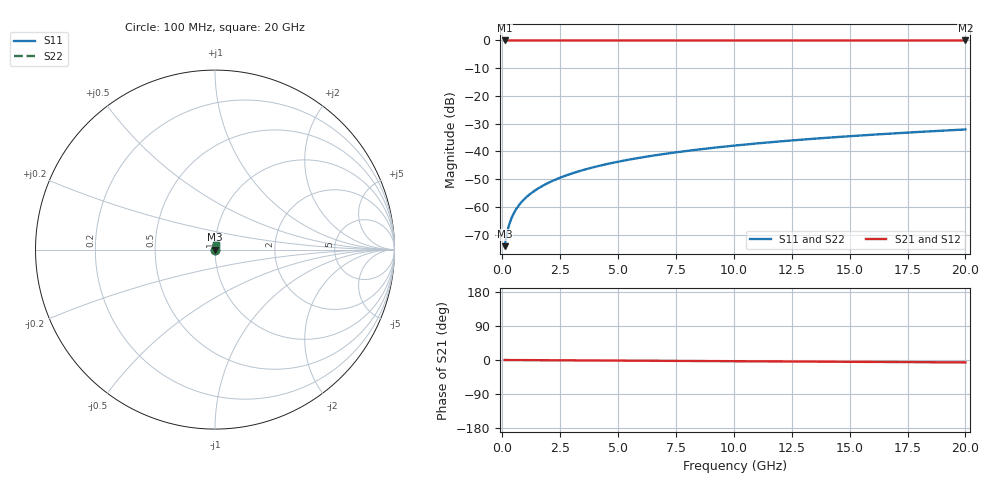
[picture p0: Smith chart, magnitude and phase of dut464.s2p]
! Touchstone file exported from HFSS 2026.1.0
!  File:  C:/ffzhzh/LocalFiles/Ansys_Project_Files/temp_train_TSV_464_1783022095_51716.aedt
!  Generated:  03:56:29 AM Jul  3, 2026
!  Design:  TSV
!  Project:  temp_train_TSV_464_1783022095_51716
! Variables:
!  h_bsmrdl = 2um
!  h_ox = 20um
!  h_rdl = 5um
!  h_sub = 56.91um
!  h_tmrdl = 5um
!  h_tsv = 56.91um
!  h_via = 3um
!  l_bsmrdl = 300um
!  l_sub = 417.72um
!  l_tmrdl = 200um
!  m_sub = 200um
!  pitch = 46.26um
!  r_tsv = 8.86um
!  s_tmrdl = 10um
!  w_bsmrdl = 18um
!  w_sub = 500um
!  w_tmrdl = 12um
!  x_tsv_center1 = 206um
!  x_tsv_center2 = 524um
!  x_tsv_center3 = 736um
!  x_tsv_center4 = 1054um
!  x_tsv_center5 = 1266um
!  x_tsv_center6 = 1584um
# GHz S MA R 50.000000
! Terminal data exported
! Port[1] = TSV1_1_T1
! Port[2] = TSV1_1_T2
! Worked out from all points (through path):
!   200 points, 100 MHz to 20 GHz, reference 50 ohm
!   highest |S21| = 0.00 dB at 100 MHz (marker M1); lowest = 0.0 dB at 20 GHz (marker M2)
!   lowest |S11| = -74.1 dB at 100 MHz (marker M3), VSWR 1.00, Z = 50 + j0.0157 ohm
!   |S11| at or under -10 dB: start of sweep to end of sweep
!   |S22| runs from -74.1 to -32.1 dB; largest |S21 - S12| = 3.5e-15
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0.1  0.0001965 53.2  0.9999 -0.0  0.9999 -0.0  0.0001965 53.2
! Gamma 0 0 0 0
! Port Impedance 50 0 50 0
0.2  0.0003373 67.9  0.9999 -0.1  0.9999 -0.1  0.0003373 67.9
0.3  0.0004851 73.2  0.9999 -0.1  0.9999 -0.1  0.0004851 73.2
0.4  0.0006316 75.6  0.9998 -0.1  0.9998 -0.1  0.0006316 75.6
0.5  0.000775 76.9  0.9998 -0.2  0.9998 -0.2  0.000775 76.9
0.6  0.000915 77.8  0.9998 -0.2  0.9998 -0.2  0.000915 77.8
0.7  0.001052 78.4  0.9998 -0.2  0.9998 -0.2  0.001052 78.4
0.8  0.001186 78.9  0.9998 -0.3  0.9998 -0.3  0.001186 78.9
1  0.001449 79.7  0.9997 -0.3  0.9997 -0.3  0.001449 79.7
1.4  0.001965 80.9  0.9997 -0.5  0.9997 -0.5  0.001965 80.9
1.7  0.002349 81.6  0.9997 -0.5  0.9997 -0.5  0.002349 81.6
2  0.002732 82.2  0.9997 -0.6  0.9997 -0.6  0.002732 82.2
2.7  0.003625 83.0  0.9996 -0.9  0.9996 -0.9  0.003625 83.0
3.5  0.004642 83.5  0.9996 -1.1  0.9996 -1.1  0.004642 83.5
4.2  0.005527 83.7  0.9995 -1.3  0.9995 -1.3  0.005527 83.7
5  0.006532 83.9  0.9995 -1.6  0.9995 -1.6  0.006532 83.9
6.8  0.008775 83.9  0.9994 -2.2  0.9994 -2.2  0.008775 83.9
8.3  0.01063 83.7  0.9993 -2.6  0.9993 -2.6  0.01063 83.7
10.1  0.01285 83.5  0.9992 -3.2  0.9992 -3.2  0.01285 83.5
13.4  0.01689 82.9  0.999 -4.2  0.999 -4.2  0.01689 82.9
16.7  0.02091 82.1  0.9988 -5.3  0.9988 -5.3  0.02091 82.1
20  0.0249 81.3  0.9986 -6.3  0.9986 -6.3  0.0249 81.3
